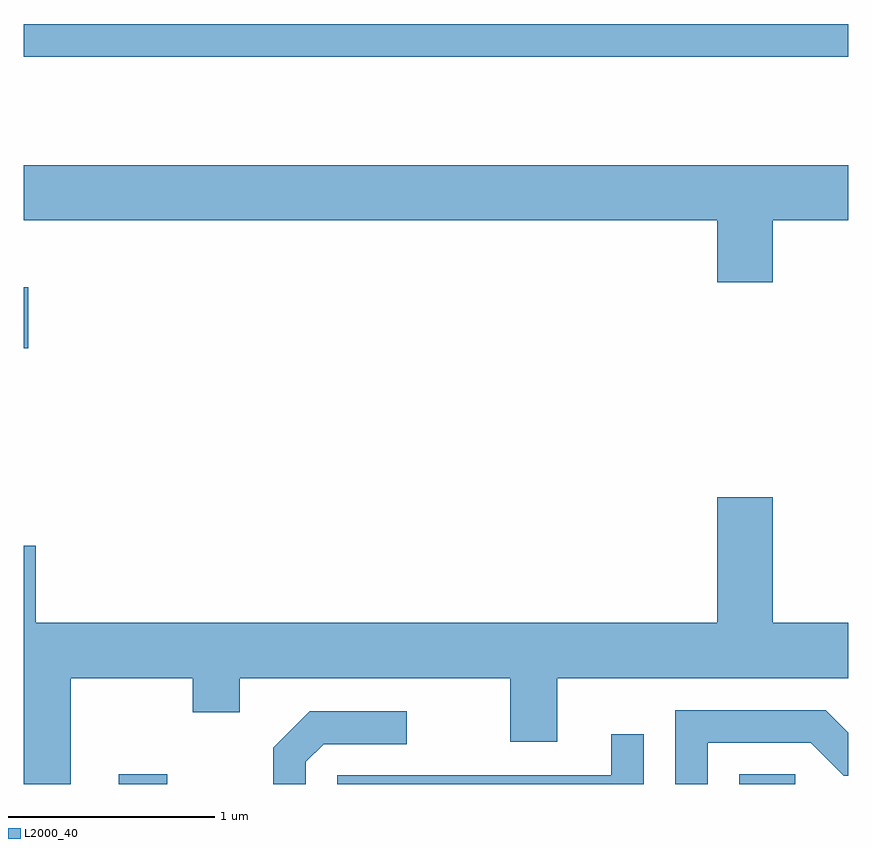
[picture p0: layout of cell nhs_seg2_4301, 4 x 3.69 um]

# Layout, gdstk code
import gdstk
lib = gdstk.Library(unit=1e-6, precision=1e-09)
def R(c, l, rs):  # rectangles x0, y0, x1, y1
    for r in rs: c.add(gdstk.rectangle(r[:2], r[2:], *l))
def P(c, l, *ps):  # polygons
    for p in ps: c.add(gdstk.Polygon(p, *l))
L2000_40 = (2000, 40)

nhs_seg2_4301 = lib.new_cell('nhs_seg2_4301')
R(nhs_seg2_4301, L2000_40, [(312.071,1047.802,312.308,1047.849), (315.081,1047.802,315.353,1047.849), (311.611,1049.916,311.634,1050.213), (311.611,1051.331,315.611,1051.489)])
P(nhs_seg2_4301, L2000_40, [(315.244,1050.536),(315.611,1050.536),(315.611,1050.804),(311.611,1050.804),(311.611,1050.536),(314.976,1050.536),(314.976,1050.236),(315.244,1050.236)],
  [(311.839,1048.316),(312.431,1048.316),(312.431,1048.151),(312.659,1048.151),(312.659,1048.316),(313.971,1048.316),(313.971,1048.006),(314.199,1048.006),(314.199,1048.316),(315.611,1048.316),(315.611,1048.584),(315.244,1048.584),(315.244,1049.194),(314.976,1049.194),(314.976,1048.584),(311.669,1048.584),(311.669,1048.959),(311.611,1048.959),(311.611,1047.802),(311.839,1047.802)],
  [(314.929,1048.001),(315.429,1048.001),(315.589,1047.841),(315.611,1047.841),(315.611,1048.05),(315.502,1048.159),(314.771,1048.159),(314.771,1047.802),(314.929,1047.802)],
  [(312.979,1047.909),(313.067,1047.996),(313.468,1047.996),(313.468,1048.154),(312.999,1048.154),(312.821,1047.977),(312.821,1047.802),(312.979,1047.802)],
  [(314.619,1048.043),(314.461,1048.043),(314.461,1047.844),(313.131,1047.844),(313.131,1047.802),(314.619,1047.802)])

lib.write_gds('nhs_seg2_4301.gds')
